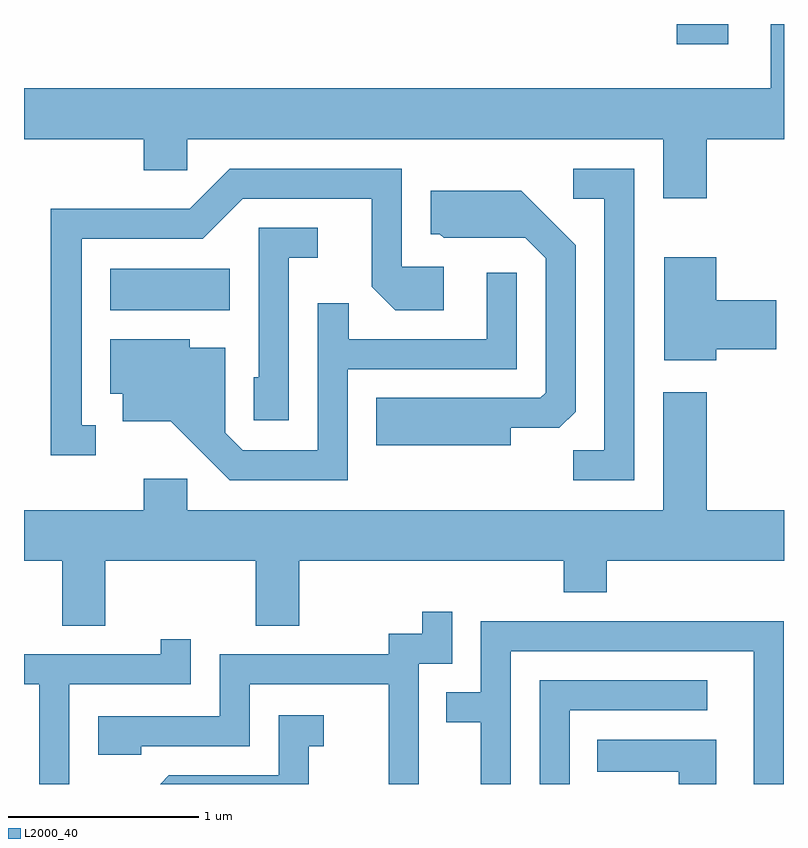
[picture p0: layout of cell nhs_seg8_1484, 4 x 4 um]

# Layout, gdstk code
import gdstk
lib = gdstk.Library(unit=1e-6, precision=1e-09)
def R(c, l, rs):  # rectangles x0, y0, x1, y1
    for r in rs: c.add(gdstk.rectangle(r[:2], r[2:], *l))
def P(c, l, *ps):  # polygons
    for p in ps: c.add(gdstk.Polygon(p, *l))
L2000_40 = (2000, 40)

nhs_seg8_1484 = lib.new_cell('nhs_seg8_1484')
R(nhs_seg8_1484, L2000_40, [(230.066,1848.836,230.694,1849.054), (233.046,1850.236,233.318,1850.342)])
P(nhs_seg8_1484, L2000_40, [(233.611,1850.342),(233.541,1850.342),(233.541,1850.004),(229.611,1850.004),(229.611,1849.736),(230.241,1849.736),(230.241,1849.571),(230.469,1849.571),(230.469,1849.736),(232.976,1849.736),(232.976,1849.426),(233.204,1849.426),(233.204,1849.736),(233.611,1849.736)],
  [(229.988,1848.229),(229.914,1848.229),(229.914,1849.211),(230.552,1849.211),(230.762,1849.421),(231.441,1849.421),(231.441,1848.959),(231.564,1848.836),(231.819,1848.836),(231.819,1849.064),(231.599,1849.064),(231.599,1849.579),(230.694,1849.579),(230.484,1849.369),(229.751,1849.369),(229.751,1848.071),(229.988,1848.071)],
  [(232.824,1849.579),(232.503,1849.579),(232.503,1849.421),(232.666,1849.421),(232.666,1848.099),(232.503,1848.099),(232.503,1847.941),(232.824,1847.941)],
  [(232.174,1848.216),(232.429,1848.216),(232.514,1848.302),(232.514,1849.177),(232.227,1849.464),(231.751,1849.464),(231.751,1849.236),(231.799,1849.236),(231.819,1849.216),(232.249,1849.216),(232.356,1849.109),(232.356,1848.402),(232.329,1848.374),(231.466,1848.374),(231.466,1848.126),(232.174,1848.126)],
  [(231.004,1849.111),(231.158,1849.111),(231.158,1849.269),(230.846,1849.269),(230.846,1848.484),(230.821,1848.484),(230.821,1848.256),(231.004,1848.256)],
  [(233.254,1848.631),(233.569,1848.631),(233.569,1848.889),(233.254,1848.889),(233.254,1849.114),(232.981,1849.114),(232.981,1848.571),(233.254,1848.571)],
  [(231.314,1848.526),(232.204,1848.526),(232.204,1849.033),(232.046,1849.033),(232.046,1848.684),(231.319,1848.684),(231.319,1848.873),(231.156,1848.873),(231.156,1848.099),(230.762,1848.099),(230.669,1848.192),(230.669,1848.639),(230.484,1848.639),(230.484,1848.684),(230.066,1848.684),(230.066,1848.396),(230.131,1848.396),(230.131,1848.251),(230.384,1848.251),(230.694,1847.941),(231.314,1847.941)],
  [(232.976,1848.404),(232.976,1847.784),(230.469,1847.784),(230.469,1847.949),(230.241,1847.949),(230.241,1847.784),(229.611,1847.784),(229.611,1847.516),(229.811,1847.516),(229.811,1847.176),(230.039,1847.176),(230.039,1847.516),(230.831,1847.516),(230.831,1847.176),(231.059,1847.176),(231.059,1847.516),(232.451,1847.516),(232.451,1847.351),(232.679,1847.351),(232.679,1847.516),(233.611,1847.516),(233.611,1847.784),(233.204,1847.784),(233.204,1848.404)],
  [(231.689,1846.976),(231.864,1846.976),(231.864,1847.248),(231.706,1847.248),(231.706,1847.134),(231.531,1847.134),(231.531,1847.024),(230.641,1847.024),(230.641,1846.699),(230.001,1846.699),(230.001,1846.496),(230.229,1846.496),(230.229,1846.541),(230.799,1846.541),(230.799,1846.866),(231.531,1846.866),(231.531,1846.342),(231.689,1846.342)],
  [(232.174,1847.041),(233.451,1847.041),(233.451,1846.342),(233.609,1846.342),(233.609,1847.199),(232.016,1847.199),(232.016,1846.824),(231.833,1846.824),(231.833,1846.666),(232.016,1846.666),(232.016,1846.342),(232.174,1846.342)],
  [(229.849,1846.866),(230.489,1846.866),(230.489,1847.103),(230.331,1847.103),(230.331,1847.024),(229.611,1847.024),(229.611,1846.866),(229.691,1846.866),(229.691,1846.342),(229.849,1846.342)],
  [(232.484,1846.731),(233.208,1846.731),(233.208,1846.889),(232.326,1846.889),(232.326,1846.342),(232.484,1846.342)],
  [(231.109,1846.541),(231.188,1846.541),(231.188,1846.704),(230.951,1846.704),(230.951,1846.389),(230.374,1846.389),(230.327,1846.342),(231.109,1846.342)],
  [(233.254,1846.574),(232.628,1846.574),(232.628,1846.406),(233.056,1846.406),(233.056,1846.342),(233.254,1846.342)])

lib.write_gds('nhs_seg8_1484.gds')
